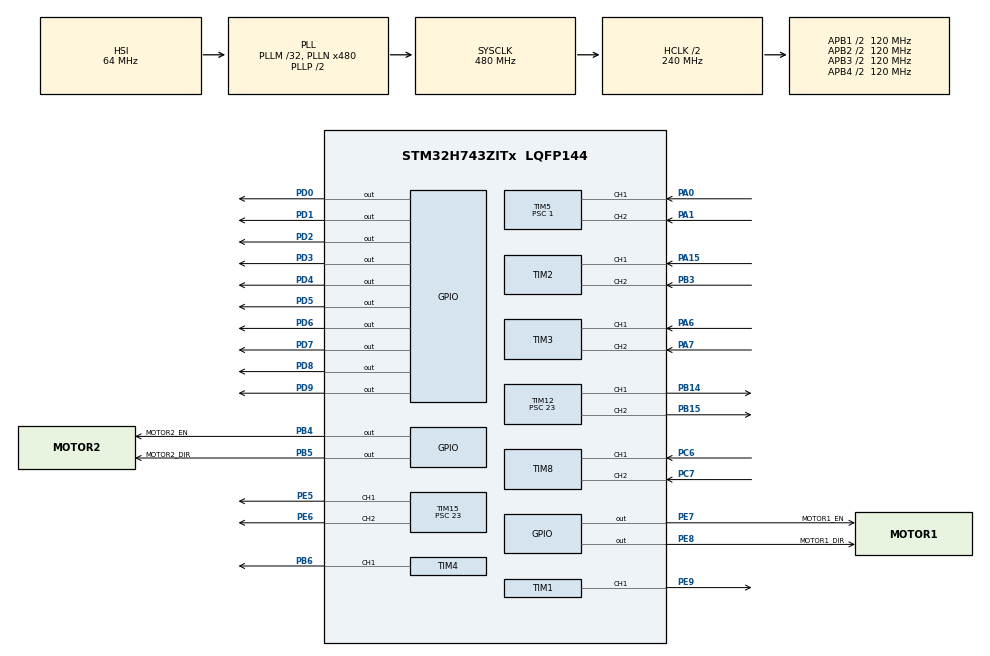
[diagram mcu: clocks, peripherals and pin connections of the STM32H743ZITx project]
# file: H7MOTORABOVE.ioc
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CORTEX_M7.default_mode_Activation=1
Mcu.Family=STM32H7
Mcu.Name=STM32H743ZITx
Mcu.Package=LQFP144
NVIC.PriorityGroup=NVIC_PRIORITYGROUP_4
NVIC.TIM4_IRQn=true\:0\:0\:false\:false\:true\:true\:true\:true
PA0.Signal=S_TIM5_CH1
PA1.Signal=S_TIM5_CH2
PA15\ (JTDI).Signal=S_TIM2_CH1_ETR
PA6.Signal=S_TIM3_CH1
PA7.Signal=S_TIM3_CH2
PB14.Signal=S_TIM12_CH1
PB15.Signal=S_TIM12_CH2
PB3\ (JTDO/TRACESWO).Signal=S_TIM2_CH2
PB4\ (NJTRST).GPIO_Label=MOTOR2_EN
PB4\ (NJTRST).GPIO_Speed=GPIO_SPEED_FREQ_HIGH
PB4\ (NJTRST).Signal=GPIO_Output
PB5.GPIO_Label=MOTOR2_DIR
PB5.GPIO_Speed=GPIO_SPEED_FREQ_HIGH
PB5.Signal=GPIO_Output
PB6.Signal=S_TIM4_CH1
PC6.Signal=S_TIM8_CH1
PC7.Signal=S_TIM8_CH2
PD0.Signal=GPIO_Output
PD1.Signal=GPIO_Output
PD2.Signal=GPIO_Output
PD3.Signal=GPIO_Output
PD4.Signal=GPIO_Output
PD5.Signal=GPIO_Output
PD6.Signal=GPIO_Output
PD7.Signal=GPIO_Output
PD8.Signal=GPIO_Output
PD9.Signal=GPIO_Output
PE5.Signal=S_TIM15_CH1
PE6.Signal=S_TIM15_CH2
PE7.GPIO_Label=MOTOR1_EN
PE7.GPIO_Speed=GPIO_SPEED_FREQ_HIGH
PE7.Signal=GPIO_Output
PE8.GPIO_Label=MOTOR1_DIR
PE8.GPIO_Speed=GPIO_SPEED_FREQ_HIGH
PE8.Signal=GPIO_Output
PE9.Signal=S_TIM1_CH1
PH0-OSC_IN\ (PH0).Mode=HSE-External-Oscillator
PH0-OSC_IN\ (PH0).Signal=RCC_OSC_IN
PH1-OSC_OUT\ (PH1).Mode=HSE-External-Oscillator
PH1-OSC_OUT\ (PH1).Signal=RCC_OSC_OUT
ProjectManager.HeapSize=0x200
ProjectManager.StackSize=0x400
ProjectManager.TargetToolchain=CMake
RCC.ADCFreq_Value=129000000
RCC.APB1Freq_Value=120000000
RCC.APB2Freq_Value=120000000
RCC.APB3Freq_Value=120000000
RCC.APB4Freq_Value=120000000
RCC.CortexFreq_Value=480000000
RCC.D1PPRE=RCC_APB3_DIV2
RCC.D2PPRE1=RCC_APB1_DIV2
RCC.D2PPRE2=RCC_APB2_DIV2
RCC.D3PPRE=RCC_APB4_DIV2
RCC.DIVN1=480
RCC.HCLKFreq_Value=240000000
RCC.HPRE=RCC_HCLK_DIV2
RCC.HSE_VALUE=25000000
RCC.SYSCLKFreq_VALUE=480000000
RCC.SYSCLKSource=RCC_SYSCLKSOURCE_PLLCLK
RCC.USBFreq_Value=480000000
SH.S_TIM12_CH1.0=TIM12_CH1,PWM Generation1 CH1
SH.S_TIM12_CH2.0=TIM12_CH2,PWM Generation2 CH2
SH.S_TIM15_CH1.0=TIM15_CH1,PWM Generation1 CH1
SH.S_TIM15_CH2.0=TIM15_CH2,PWM Generation2 CH2
SH.S_TIM1_CH1.0=TIM1_CH1,PWM Generation1 CH1
SH.S_TIM2_CH1_ETR.0=TIM2_CH1,Encoder_Interface
SH.S_TIM2_CH2.0=TIM2_CH2,Encoder_Interface
SH.S_TIM3_CH1.0=TIM3_CH1,Encoder_Interface
SH.S_TIM3_CH2.0=TIM3_CH2,Encoder_Interface
SH.S_TIM4_CH1.0=TIM4_CH1,PWM Generation1 CH1
SH.S_TIM5_CH1.0=TIM5_CH1,Encoder_Interface
SH.S_TIM5_CH2.0=TIM5_CH2,Encoder_Interface
SH.S_TIM8_CH1.0=TIM8_CH1,Encoder_Interface
SH.S_TIM8_CH2.0=TIM8_CH2,Encoder_Interface
TIM1.Channel-PWM\ Generation1\ CH1=TIM_CHANNEL_1
TIM12.Channel-PWM\ Generation1\ CH1=TIM_CHANNEL_1
TIM12.Channel-PWM\ Generation2\ CH2=TIM_CHANNEL_2
TIM12.Period=999
TIM12.Prescaler=23
TIM15.Channel-PWM\ Generation1\ CH1=TIM_CHANNEL_1
TIM15.Channel-PWM\ Generation2\ CH2=TIM_CHANNEL_2
TIM15.Period=999
TIM15.Prescaler=23
TIM2.EncoderMode=TIM_ENCODERMODE_TI12
TIM3.EncoderMode=TIM_ENCODERMODE_TI12
TIM4.Channel-PWM\ Generation1\ CH1=TIM_CHANNEL_1
TIM4.Prescaler=1
TIM5.EncoderMode=TIM_ENCODERMODE_TI12
TIM5.Period=99
TIM5.Prescaler=1
TIM8.EncoderMode=TIM_ENCODERMODE_TI12
VP_MEMORYMAP_VS_MEMORYMAP.Mode=CurAppReg
VP_TIM1_VS_ClockSourceINT.Mode=Internal
VP_TIM4_VS_ClockSourceINT.Mode=Internal
board=custom

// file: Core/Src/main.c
/* USER CODE BEGIN Header */
/**
  ******************************************************************************
  * @file           : main.c
  * @brief          : Main program body
  ******************************************************************************
  * @attention
  *
  * Copyright (c) 2026 STMicroelectronics.
  * All rights reserved.
  *
  * This software is licensed under terms that can be found in the LICENSE file
  * in the root directory of this software component.
  * If no LICENSE file comes with this software, it is provided AS-IS.
  *
  ******************************************************************************
  */
/* USER CODE END Header */
#include "main.h"
#include "tim.h"
#include "gpio.h"

/* USER CODE BEGIN Includes */
#include "stepper_motor.h"
#include "stepper_motor2.h"
#include "motor_car.h"
#include <stdio.h>
/* USER CODE END Includes */

/* USER CODE BEGIN PV */
extern volatile uint8_t is_motor_running;     // 电机1运行标志
extern volatile uint8_t motor2_is_running;    // 电机2运行标志
/* USER CODE END PV */

void SystemClock_Config(void);
static void MPU_Config(void);

int main(void)
{

  /* USER CODE BEGIN 1 */
  EncoderData_t my_encoder_data;
  /* USER CODE END 1 */

  /* MPU Configuration--------------------------------------------------------*/
  MPU_Config();

  /* MCU Configuration--------------------------------------------------------*/

  /* Reset of all peripherals, Initializes the Flash interface and the Systick. */
  HAL_Init();

  /* Configure the system clock */
  SystemClock_Config();

  /* Initialize all configured peripherals */
  MX_GPIO_Init();
  MX_TIM4_Init();
  MX_TIM2_Init();
  MX_TIM3_Init();
  MX_TIM5_Init();
  MX_TIM8_Init();
  MX_TIM12_Init();
  MX_TIM15_Init();
  MX_TIM1_Init();
  /* USER CODE BEGIN 2 */
  Motor_Init();  // 初始化小车电机和编码器
  HAL_Delay(2000); // 等待系统稳定
  // ===================== 动作调试序列 (开环延时控制) =====================

  // 动作1：直线前进
  // 左右侧给出相同的正向速度
  Motor_SetSideSpeed(500, 500);
  HAL_Delay(2000);     // 假设前进2秒
  Motor_Stop();        // 刹车
  HAL_Delay(1000);     // 停顿1秒

  // 动作2：原地右转 90度
  // 左侧正转，右侧反转产生差速
  Motor_SetSideSpeed(400, -400);
  HAL_Delay(800);      // 【微调点】根据地面的摩擦力，调整这个延时让它刚好转90度
  Motor_Stop();
  HAL_Delay(1000);

  // 动作3：直线前进
  Motor_SetSideSpeed(500, 500);
  HAL_Delay(1500);     // 前进1.5秒
  Motor_Stop();
  HAL_Delay(1000);

  // 动作4：原地左转掉头 180度
  // 左侧反转，右侧正转
  Motor_SetSideSpeed(-400, 400);
  HAL_Delay(1600);     // 【微调点】大约是转90度延时的两倍
  Motor_Stop();
  HAL_Delay(1000);

  // 动作5：原路返回
  Motor_SetSideSpeed(500, 500);
  HAL_Delay(1500);     // 对应动作3的距离
  Motor_Stop();
  HAL_Delay(1000);

  // 动作6：原地左转 90度，方向朝向最初始状态
  Motor_SetSideSpeed(-400, 400);
  HAL_Delay(800);
  Motor_Stop();
  HAL_Delay(1000);

  // 动作7：退回到绝对起点位置
  Motor_SetSideSpeed(500, 500);
  HAL_Delay(2000);     // 对应动作1的距离
  Motor_Stop();
  /* USER CODE END 2 */

  /* Infinite loop */
  /* USER CODE BEGIN WHILE */
  while (1)
  {
    // // --- 电机1：一次性转20圈 (20 * 360 = 7200度) ---
    // // 速度设为360度/秒，20圈需要20秒
    // Motor_Speed_Dir_Angle(360.0f, 1, 7200.0f);  // 顺时针
    // // --- 电机2：连续转20次，每次3.6度 ---
    // for (int i = 0; i < 20; i++)
    // {
    //   Motor2_Speed_Dir_Angle(36.0f, 0, 3.6f);   // 逆时针，速度36度/秒
    //   // 等待电机2完成本次3.6度转动
    //   while (motor2_is_running)
    //   {
    //     HAL_Delay(5);
    //   }
    //   HAL_Delay(100);   // 每两次之间短暂停顿，方便观察
    // }
    // // --- 电机2的20次已经全部做完，现在等待电机1完成20圈 ---
    // while (is_motor_running)
    // {
    //   HAL_Delay(10);
    // }
    // // 全部完成后，停留5秒再重新开始（可根据需求删除此延时）
    // HAL_Delay(5000);

    // 在死循环中，您可以不断读取编码器的值，用于后续开发闭环控制（PID）
      // 这个函数内部会自动清零计数器，所以读到的是这一小段时间内的脉冲数(速度)
      my_encoder_data = Motor_ReadEncoders();

      // 如果您配置了串口重定向 printf，可以打印出来观察打滑情况：
      // printf("LF:%d, LB:%d, RF:%d, RB:%d\r\n",
      //         my_encoder_data.LeftFront, my_encoder_data.LeftBack,
      //         my_encoder_data.RightFront, my_encoder_data.RightBack);

      HAL_Delay(50); // 每50ms读取一次（通常作为PID的控制周期）
    /* USER CODE END WHILE */

  }
}

void SystemClock_Config(void)
{
  RCC_OscInitTypeDef RCC_OscInitStruct = {0};
  RCC_ClkInitTypeDef RCC_ClkInitStruct = {0};

  /** Supply configuration update enable
  */
  HAL_PWREx_ConfigSupply(PWR_LDO_SUPPLY);

  /** Configure the main internal regulator output voltage
  */
  __HAL_PWR_VOLTAGESCALING_CONFIG(PWR_REGULATOR_VOLTAGE_SCALE0);

  while(!__HAL_PWR_GET_FLAG(PWR_FLAG_VOSRDY)) {}

  /** Initializes the RCC Oscillators according to the specified parameters
  * in the RCC_OscInitTypeDef structure.
  */
  RCC_OscInitStruct.OscillatorType = RCC_OSCILLATORTYPE_HSI;
  RCC_OscInitStruct.HSIState = RCC_HSI_DIV1;
  RCC_OscInitStruct.HSICalibrationValue = RCC_HSICALIBRATION_DEFAULT;
  RCC_OscInitStruct.PLL.PLLState = RCC_PLL_ON;
  RCC_OscInitStruct.PLL.PLLSource = RCC_PLLSOURCE_HSI;
  RCC_OscInitStruct.PLL.PLLM = 32;
  RCC_OscInitStruct.PLL.PLLN = 480;
  RCC_OscInitStruct.PLL.PLLP = 2;
  RCC_OscInitStruct.PLL.PLLQ = 2;
  RCC_OscInitStruct.PLL.PLLR = 2;
  RCC_OscInitStruct.PLL.PLLRGE = RCC_PLL1VCIRANGE_1;
  RCC_OscInitStruct.PLL.PLLVCOSEL = RCC_PLL1VCOWIDE;
  RCC_OscInitStruct.PLL.PLLFRACN = 0;
  if (HAL_RCC_OscConfig(&RCC_OscInitStruct) != HAL_OK)
  {
    Error_Handler();
  }

  /** Initializes the CPU, AHB and APB buses clocks
  */
  RCC_ClkInitStruct.ClockType = RCC_CLOCKTYPE_HCLK|RCC_CLOCKTYPE_SYSCLK
                              |RCC_CLOCKTYPE_PCLK1|RCC_CLOCKTYPE_PCLK2
                              |RCC_CLOCKTYPE_D3PCLK1|RCC_CLOCKTYPE_D1PCLK1;
  RCC_ClkInitStruct.SYSCLKSource = RCC_SYSCLKSOURCE_PLLCLK;
  RCC_ClkInitStruct.SYSCLKDivider = RCC_SYSCLK_DIV1;
  RCC_ClkInitStruct.AHBCLKDivider = RCC_HCLK_DIV2;
  RCC_ClkInitStruct.APB3CLKDivider = RCC_APB3_DIV2;
  RCC_ClkInitStruct.APB1CLKDivider = RCC_APB1_DIV2;
  RCC_ClkInitStruct.APB2CLKDivider = RCC_APB2_DIV2;
  RCC_ClkInitStruct.APB4CLKDivider = RCC_APB4_DIV2;

  if (HAL_RCC_ClockConfig(&RCC_ClkInitStruct, FLASH_LATENCY_4) != HAL_OK)
  {
    Error_Handler();
  }
}

 /* MPU Configuration */

void MPU_Config(void)
{
  MPU_Region_InitTypeDef MPU_InitStruct = {0};

  /* Disables the MPU */
  HAL_MPU_Disable();

  /** Initializes and configures the Region and the memory to be protected
  */
  MPU_InitStruct.Enable = MPU_REGION_ENABLE;
  MPU_InitStruct.Number = MPU_REGION_NUMBER0;
  MPU_InitStruct.BaseAddress = 0x0;
  MPU_InitStruct.Size = MPU_REGION_SIZE_4GB;
  MPU_InitStruct.SubRegionDisable = 0x87;
  MPU_InitStruct.TypeExtField = MPU_TEX_LEVEL0;
  MPU_InitStruct.AccessPermission = MPU_REGION_NO_ACCESS;
  MPU_InitStruct.DisableExec = MPU_INSTRUCTION_ACCESS_DISABLE;
  MPU_InitStruct.IsShareable = MPU_ACCESS_SHAREABLE;
  MPU_InitStruct.IsCacheable = MPU_ACCESS_NOT_CACHEABLE;
  MPU_InitStruct.IsBufferable = MPU_ACCESS_NOT_BUFFERABLE;

  HAL_MPU_ConfigRegion(&MPU_InitStruct);
  /* Enables the MPU */
  HAL_MPU_Enable(MPU_PRIVILEGED_DEFAULT);

}

void Error_Handler(void)
{
  __disable_irq();
  while (1)
  {
  }
}
